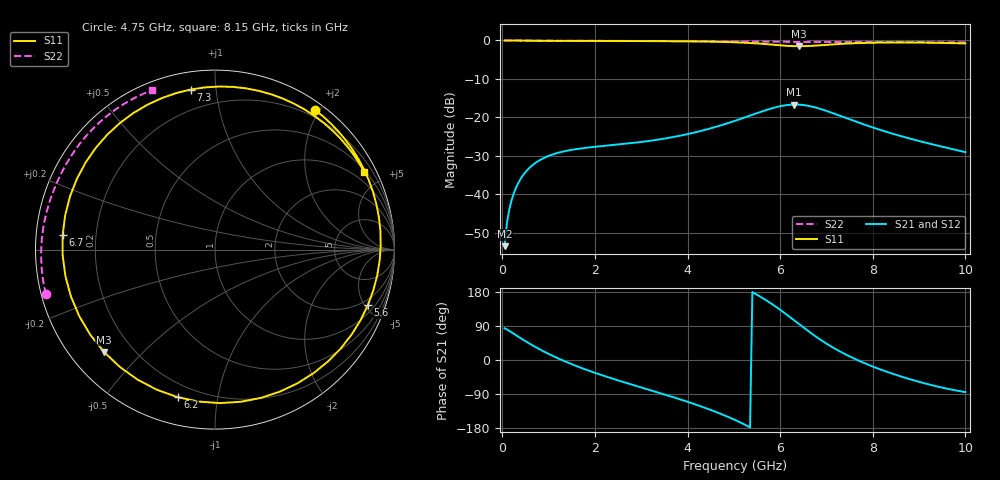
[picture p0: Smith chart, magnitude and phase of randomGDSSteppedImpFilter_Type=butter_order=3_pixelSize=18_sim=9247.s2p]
! freq	dB(S11)	phase(S11)	dB(S12)	phase(S12)
!  dB(S21)	phase(S21)	dB(S22)	phase(S22)
!S-par simulation data
#  GHz  S  DB  R 50
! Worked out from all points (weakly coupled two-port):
!   200 points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, 50 MHz to 10 GHz, reference 50 ohm
!   highest |S21| = -16.64 dB at 6.3 GHz (marker M1); lowest = -53.4 dB at 50 MHz (marker M2)
!   lowest |S11| = -1.5 dB at 6.4 GHz (marker M3), VSWR 11.60, Z = 4.96 - j19.4 ohm
!   |S11| at or under -10 dB: nowhere
!   |S22| runs from -0.5 to 0.0 dB; largest |S21 - S12| = 0
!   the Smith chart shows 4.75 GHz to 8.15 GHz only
!   S11 on the Smith chart (normalised r, x): 4.75 GHz: 0.10, +1.95; 5.6 GHz: 1.52, -5.26; 6.2 GHz: 0.13, -0.77; 6.7 GHz: 0.08, +0.05; 7.3 GHz: 0.09, +0.86; 8.15 GHz: 0.56, +4.01
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0.05  -0.00 -6.1  -53.42 83.6  -53.42 83.6  -0.00 -2.3
0.25  -0.04 -30.2  -39.63 69.0  -39.63 69.0  -0.01 -11.2
0.75  -0.09 -83.0  -31.52 32.0  -31.52 32.0  -0.05 -33.1
1.25  -0.11 -123.3  -29.03 1.8  -29.03 1.8  -0.07 -54.0
1.75  -0.12 -154.3  -27.96 -22.9  -27.96 -22.9  -0.09 -73.6
2.5  -0.14 168.0  -27.03 -53.8  -27.03 -53.8  -0.12 -100.3
3.4  -0.18 127.0  -25.68 -87.1  -25.68 -87.1  -0.15 -128.5
4.15  -0.25 90.1  -23.91 -116.4  -23.91 -116.4  -0.19 -149.5
4.75  -0.38 54.2  -21.94 -143.7  -21.94 -143.7  -0.22 -165.2
5.05  -0.49 32.3  -20.77 -159.6  -20.77 -159.6  -0.25 -172.8
5.6  -0.85 -20.0  -18.46 165.0  -18.46 165.0  -0.31 173.6
5.95  -1.21 -65.4  -17.21 136.9  -17.21 136.9  -0.35 165.2
6.2  -1.43 -104.2  -16.71 114.3  -16.71 114.3  -0.38 159.4
6.3  -1.48 -120.7  -16.64 104.8  -16.64 104.8  -0.39 157.0
6.4  -1.50 -137.3  -16.67 95.4  -16.67 95.4  -0.39 154.7
6.7  -1.38 174.6  -17.22 67.9  -17.22 67.9  -0.39 147.6
7  -1.13 133.0  -18.29 43.2  -18.29 43.2  -0.38 140.4
7.3  -0.89 98.6  -19.59 22.0  -19.59 22.0  -0.38 133.0
8.15  -0.56 27.5  -23.18 -24.3  -23.18 -24.3  -0.40 111.6
8.35  -0.54 14.1  -23.93 -33.1  -23.93 -33.1  -0.41 106.4
9.05  -0.56 -27.2  -26.27 -59.3  -26.27 -59.3  -0.45 88.0
10  -0.77 -74.9  -29.01 -84.7  -29.01 -84.7  -0.52 62.2
